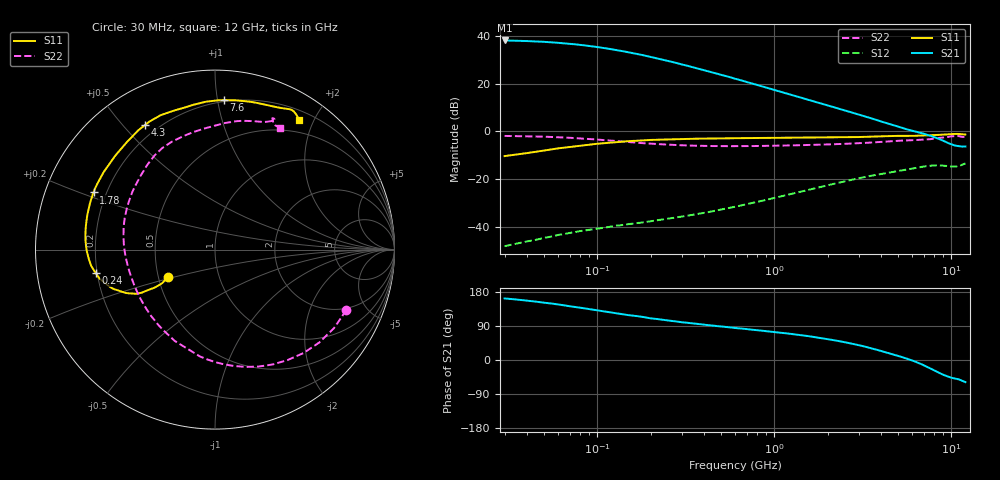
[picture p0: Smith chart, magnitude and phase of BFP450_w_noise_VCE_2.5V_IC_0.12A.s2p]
! (c) 2015  Infineon Technologies AG, Munich
! Infineon Technologies  Discrete & RF Semiconductors
! BFP450
! VCE =  2.5 V,  IC = 0.12 A
! Common Emitter S-Parameters:  Nov 2015
# GHz  S  MA  R  50
!  f  S11  S21  S12  S22
! GHz  MAG  ANG  MAG  ANG  MAG  ANG  MAG  ANG
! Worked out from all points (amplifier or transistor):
!   239 points, 30 MHz to 12 GHz, reference 50 ohm
!   highest |S21| = 38.2 dB at 30 MHz (marker M1)
!   |S21| within 3 dB of that: start of sweep to 105.3 MHz
!   unconditionally stable (mu >= 1): 822.7 MHz to end of sweep
!   at 300 MHz: K = 0.75, MSG = 32.0 dB, |S12| = -35.8 dB
!   at 1.88 GHz: K = 1.09, MAG = 15.4 dB, |S12| = -23.1 dB
!   at 12 GHz: K = 1.08, MAG = 1.8 dB, |S12| = -13.4 dB
!   lowest NFmin = 2.31 dB at 450 MHz
!   S11 on the Smith chart (normalised r, x): 30 MHz: 0.56, -0.19; 240 MHz: 0.19, -0.09; 1.78 GHz: 0.15, +0.22; 4.3 GHz: 0.15, +0.58; 7.6 GHz: 0.19, +1.04; 12 GHz: 0.32, +1.80
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0.03  0.3039 -149.6  81.47 162.4  0.0039 81.7  0.8057 -24.7
0.04  0.3507 -147.5  79.16 156.8  0.0049 77.6  0.7944 -33.4
0.05  0.397 -147.8  76.28 151.3  0.0058 72.9  0.778 -41.7
0.06  0.4409 -149.0  72.8 146.7  0.0067 68.2  0.7584 -49.5
0.07  0.4729 -149.5  69.28 141.8  0.0074 66.3  0.7364 -56.7
0.085  0.5159 -151.6  64.16 136.3  0.0083 64.0  0.705 -66.4
0.105  0.5601 -154.8  57.77 129.5  0.0093 60.5  0.6664 -77.8
0.13  0.6008 -158.3  50.77 122.8  0.0106 58.2  0.6268 -89.9
0.15  0.6256 -161.0  45.99 118.4  0.0113 57.8  0.6012 -98.0
0.2  0.6638 -166.0  36.63 110.0  0.013 56.8  0.5561 -113.8
0.24  0.6781 -169.0  31.53 105.5  0.0144 57.0  0.5329 -122.9
0.3  0.6963 -172.7  25.57 99.7  0.0163 57.9  0.5131 -134.0
0.36  0.7045 -175.5  21.52 95.7  0.0182 59.1  0.5019 -141.9
0.45  0.7135 -178.9  17.21 90.6  0.0211 60.6  0.494 -150.9
0.6  0.7223 176.7  12.81 84.5  0.0262 62.1  0.4914 -161.1
1  0.7323 168.2  7.431 73.8  0.0401 62.2  0.5015 -177.1
1.64  0.7457 157.1  4.369 61.5  0.0622 57.3  0.5226 167.2
1.78  0.7478 154.8  3.996 59.0  0.0669 55.9  0.5269 164.3
4.3  0.7963 119.3  1.497 20.0  0.1336 26.6  0.6146 125.2
4.5  0.8016 117.1  1.415 17.2  0.1376 24.7  0.623 122.9
7.6  0.8345 86.6  0.815 -22.3  0.1906 -8.7  0.6888 90.7
12  0.8621 57.0  0.484 -58.4  0.213 -40.7  0.7702 61.9
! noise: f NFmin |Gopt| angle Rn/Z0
0.45  2.31  0.66  -172  0.07
0.9  2.37  0.69  -166  0.09
1.9  2.46  0.7  -149  0.19
2.4  2.55  0.7  -139  0.27
